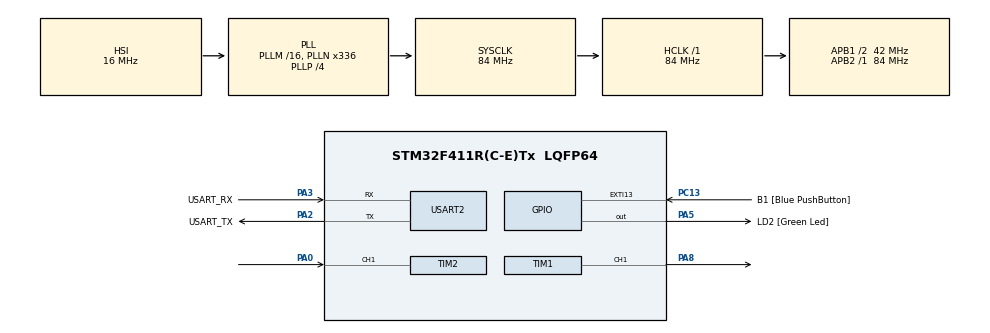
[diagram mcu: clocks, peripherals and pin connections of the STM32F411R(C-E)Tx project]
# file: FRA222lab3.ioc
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Dma.Request0=TIM2_CH1
Dma.TIM2_CH1.0.Direction=DMA_PERIPH_TO_MEMORY
Dma.TIM2_CH1.0.FIFOMode=DMA_FIFOMODE_DISABLE
Dma.TIM2_CH1.0.Instance=DMA1_Stream5
Dma.TIM2_CH1.0.MemDataAlignment=DMA_MDATAALIGN_WORD
Dma.TIM2_CH1.0.MemInc=DMA_MINC_ENABLE
Dma.TIM2_CH1.0.Mode=DMA_CIRCULAR
Dma.TIM2_CH1.0.PeriphDataAlignment=DMA_PDATAALIGN_WORD
Dma.TIM2_CH1.0.PeriphInc=DMA_PINC_DISABLE
Dma.TIM2_CH1.0.Priority=DMA_PRIORITY_LOW
Mcu.Family=STM32F4
Mcu.Name=STM32F411R(C-E)Tx
Mcu.Package=LQFP64
NVIC.DMA1_Stream5_IRQn=true\:0\:0\:false\:false\:true\:false\:true\:true
NVIC.PriorityGroup=NVIC_PRIORITYGROUP_0
PA0-WKUP.Signal=S_TIM2_CH1_ETR
PA13.GPIO_Label=TMS
PA13.Mode=Serial_Wire
PA13.Signal=SYS_JTMS-SWDIO
PA14.GPIO_Label=TCK
PA14.Mode=Serial_Wire
PA14.Signal=SYS_JTCK-SWCLK
PA2.GPIO_Label=USART_TX
PA2.Mode=Asynchronous
PA2.Signal=USART2_TX
PA3.GPIO_Label=USART_RX
PA3.Mode=Asynchronous
PA3.Signal=USART2_RX
PA5.GPIO_Label=LD2 [Green Led]
PA5.Signal=GPIO_Output
PA8.Signal=S_TIM1_CH1
PB3.GPIO_Label=SWO
PB3.Signal=SYS_JTDO-SWO
PC13-ANTI_TAMP.GPIO_Label=B1 [Blue PushButton]
PC13-ANTI_TAMP.GPIO_ModeDefaultEXTI=GPIO_MODE_IT_FALLING
PC13-ANTI_TAMP.Signal=GPXTI13
PC14-OSC32_IN.Mode=LSE-External-Oscillator
PC14-OSC32_IN.Signal=RCC_OSC32_IN
PC15-OSC32_OUT.Mode=LSE-External-Oscillator
PC15-OSC32_OUT.Signal=RCC_OSC32_OUT
PH0\ -\ OSC_IN.Mode=HSE-External-Clock-Source
PH0\ -\ OSC_IN.Signal=RCC_OSC_IN
PH1\ -\ OSC_OUT.Mode=HSE-External-Clock-Source
PH1\ -\ OSC_OUT.Signal=RCC_OSC_OUT
ProjectManager.HeapSize=0x200
ProjectManager.StackSize=0x400
ProjectManager.TargetToolchain=STM32CubeIDE
RCC.48MHZClocksFreq_Value=84000000
RCC.AHBFreq_Value=84000000
RCC.APB1CLKDivider=RCC_HCLK_DIV2
RCC.APB1Freq_Value=42000000
RCC.APB1TimFreq_Value=84000000
RCC.APB2Freq_Value=84000000
RCC.APB2TimFreq_Value=84000000
RCC.CortexFreq_Value=84000000
RCC.FLatency-AdvancedSettings=FLASH_LATENCY_2
RCC.HCLKFreq_Value=84000000
RCC.HSE_VALUE=8000000
RCC.HSI_VALUE=16000000
RCC.PLLN=336
RCC.PLLP=RCC_PLLP_DIV4
RCC.SYSCLKFreq_VALUE=84000000
RCC.SYSCLKSource=RCC_SYSCLKSOURCE_PLLCLK
RCC.VCOOutputFreq_Value=336000000
SH.S_TIM1_CH1.0=TIM1_CH1,PWM Generation1 CH1
SH.S_TIM2_CH1_ETR.0=TIM2_CH1,Input_Capture1_from_TI1
TIM1.Channel-PWM\ Generation1\ CH1=TIM_CHANNEL_1
TIM1.Period=999
TIM1.Prescaler=83
TIM1.Pulse-PWM\ Generation1\ CH1=500
TIM2.Channel-Input_Capture1_from_TI1=TIM_CHANNEL_1
TIM2.Prescaler=83
USART2.VirtualMode=VM_ASYNC
VP_TIM1_VS_ClockSourceINT.Mode=Internal
VP_TIM2_VS_ClockSourceINT.Mode=Internal
board=NUCLEO-F411RE

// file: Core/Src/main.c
/* USER CODE BEGIN Header */
/**
  ******************************************************************************
  * @file           : main.c
  * @brief          : Main program body
  ******************************************************************************
  * @attention
  *
  * Copyright (c) 2023 STMicroelectronics.
  * All rights reserved.
  *
  * This software is licensed under terms that can be found in the LICENSE file
  * in the root directory of this software component.
  * If no LICENSE file comes with this software, it is provided AS-IS.
  *
  ******************************************************************************
  */
/* USER CODE END Header */
#include "main.h"

/* USER CODE BEGIN Includes */
#define IC_BUFFER_SIZE 20
/* USER CODE END Includes */

TIM_HandleTypeDef htim1;
TIM_HandleTypeDef htim2;
DMA_HandleTypeDef hdma_tim2_ch1;

UART_HandleTypeDef huart2;

/* USER CODE BEGIN PV */
uint32_t InputCaptureBuffer[IC_BUFFER_SIZE];
float averageRisingedgePeriod;
float duty = 500;
float MotorSetduty = 50;

float MotorSetRPM = 0;
float MotorReadRPM = 0;
uint32_t MotorControlEnable = 0;

/* USER CODE END PV */

void SystemClock_Config(void);
static void MX_GPIO_Init(void);
static void MX_DMA_Init(void);
static void MX_USART2_UART_Init(void);
static void MX_TIM1_Init(void);
static void MX_TIM2_Init(void);
/* USER CODE BEGIN PFP */
float IC_Calc_Period();

/* USER CODE END PFP */

int main(void)
{

  /* MCU Configuration--------------------------------------------------------*/

  /* Reset of all peripherals, Initializes the Flash interface and the Systick. */
  HAL_Init();

  /* Configure the system clock */
  SystemClock_Config();

  /* Initialize all configured peripherals */
  MX_GPIO_Init();
  MX_DMA_Init();
  MX_USART2_UART_Init();
  MX_TIM1_Init();
  MX_TIM2_Init();
  /* USER CODE BEGIN 2 */
  HAL_TIM_Base_Start(&htim2);
  HAL_TIM_IC_Start_DMA(&htim2, TIM_CHANNEL_1, InputCaptureBuffer, IC_BUFFER_SIZE);

  HAL_TIM_Base_Start(&htim1);
  HAL_TIM_PWM_Start(&htim1, TIM_CHANNEL_1);
  /* USER CODE END 2 */

  /* Infinite loop */
  while (1)
  {

    /* USER CODE BEGIN 3 */
	  static uint32_t timestamp = 0;
	  	  	  if(HAL_GetTick()>timestamp)
	  	  	  {
	  	  		  timestamp = HAL_GetTick()+500;
	  	  		  averageRisingedgePeriod = IC_Calc_Period();
	  	  		  MotorReadRPM = 60/(64*12*averageRisingedgePeriod*0.000001);

	  	  		  __HAL_TIM_SET_COMPARE(&htim1,TIM_CHANNEL_1,duty);

	  	  		 if(MotorControlEnable == 1){
	  	  			 //duty = MotorSetRPM*(1000/25);
	  	  			 if ((MotorReadRPM < MotorSetRPM) & (duty<=1000)){
	  	  				duty += 20;
	  	  			 }
	  	  			 else if((MotorReadRPM > MotorSetRPM) & (duty>=0)){
	  	  				duty -= 20;
	  	  			 }

	  	  		 }
				 else{
					 duty = MotorSetduty*10 ;
				 }

	  	  	  }
  }
  /* USER CODE END 3 */
}

void SystemClock_Config(void)
{
  RCC_OscInitTypeDef RCC_OscInitStruct = {0};
  RCC_ClkInitTypeDef RCC_ClkInitStruct = {0};

  /** Configure the main internal regulator output voltage
  */
  __HAL_RCC_PWR_CLK_ENABLE();
  __HAL_PWR_VOLTAGESCALING_CONFIG(PWR_REGULATOR_VOLTAGE_SCALE1);

  /** Initializes the RCC Oscillators according to the specified parameters
  * in the RCC_OscInitTypeDef structure.
  */
  RCC_OscInitStruct.OscillatorType = RCC_OSCILLATORTYPE_HSI;
  RCC_OscInitStruct.HSIState = RCC_HSI_ON;
  RCC_OscInitStruct.HSICalibrationValue = RCC_HSICALIBRATION_DEFAULT;
  RCC_OscInitStruct.PLL.PLLState = RCC_PLL_ON;
  RCC_OscInitStruct.PLL.PLLSource = RCC_PLLSOURCE_HSI;
  RCC_OscInitStruct.PLL.PLLM = 16;
  RCC_OscInitStruct.PLL.PLLN = 336;
  RCC_OscInitStruct.PLL.PLLP = RCC_PLLP_DIV4;
  RCC_OscInitStruct.PLL.PLLQ = 4;
  if (HAL_RCC_OscConfig(&RCC_OscInitStruct) != HAL_OK)
  {
    Error_Handler();
  }

  /** Initializes the CPU, AHB and APB buses clocks
  */
  RCC_ClkInitStruct.ClockType = RCC_CLOCKTYPE_HCLK|RCC_CLOCKTYPE_SYSCLK
                              |RCC_CLOCKTYPE_PCLK1|RCC_CLOCKTYPE_PCLK2;
  RCC_ClkInitStruct.SYSCLKSource = RCC_SYSCLKSOURCE_PLLCLK;
  RCC_ClkInitStruct.AHBCLKDivider = RCC_SYSCLK_DIV1;
  RCC_ClkInitStruct.APB1CLKDivider = RCC_HCLK_DIV2;
  RCC_ClkInitStruct.APB2CLKDivider = RCC_HCLK_DIV1;

  if (HAL_RCC_ClockConfig(&RCC_ClkInitStruct, FLASH_LATENCY_2) != HAL_OK)
  {
    Error_Handler();
  }
}

static void MX_TIM1_Init(void)
{

  TIM_ClockConfigTypeDef sClockSourceConfig = {0};
  TIM_MasterConfigTypeDef sMasterConfig = {0};
  TIM_OC_InitTypeDef sConfigOC = {0};
  TIM_BreakDeadTimeConfigTypeDef sBreakDeadTimeConfig = {0};

  htim1.Instance = TIM1;
  htim1.Init.Prescaler = 83;
  htim1.Init.CounterMode = TIM_COUNTERMODE_UP;
  htim1.Init.Period = 999;
  htim1.Init.ClockDivision = TIM_CLOCKDIVISION_DIV1;
  htim1.Init.RepetitionCounter = 0;
  htim1.Init.AutoReloadPreload = TIM_AUTORELOAD_PRELOAD_DISABLE;
  if (HAL_TIM_Base_Init(&htim1) != HAL_OK)
  {
    Error_Handler();
  }
  sClockSourceConfig.ClockSource = TIM_CLOCKSOURCE_INTERNAL;
  if (HAL_TIM_ConfigClockSource(&htim1, &sClockSourceConfig) != HAL_OK)
  {
    Error_Handler();
  }
  if (HAL_TIM_PWM_Init(&htim1) != HAL_OK)
  {
    Error_Handler();
  }
  sMasterConfig.MasterOutputTrigger = TIM_TRGO_RESET;
  sMasterConfig.MasterSlaveMode = TIM_MASTERSLAVEMODE_DISABLE;
  if (HAL_TIMEx_MasterConfigSynchronization(&htim1, &sMasterConfig) != HAL_OK)
  {
    Error_Handler();
  }
  sConfigOC.OCMode = TIM_OCMODE_PWM1;
  sConfigOC.Pulse = 500;
  sConfigOC.OCPolarity = TIM_OCPOLARITY_HIGH;
  sConfigOC.OCNPolarity = TIM_OCNPOLARITY_HIGH;
  sConfigOC.OCFastMode = TIM_OCFAST_DISABLE;
  sConfigOC.OCIdleState = TIM_OCIDLESTATE_RESET;
  sConfigOC.OCNIdleState = TIM_OCNIDLESTATE_RESET;
  if (HAL_TIM_PWM_ConfigChannel(&htim1, &sConfigOC, TIM_CHANNEL_1) != HAL_OK)
  {
    Error_Handler();
  }
  sBreakDeadTimeConfig.OffStateRunMode = TIM_OSSR_DISABLE;
  sBreakDeadTimeConfig.OffStateIDLEMode = TIM_OSSI_DISABLE;
  sBreakDeadTimeConfig.LockLevel = TIM_LOCKLEVEL_OFF;
  sBreakDeadTimeConfig.DeadTime = 0;
  sBreakDeadTimeConfig.BreakState = TIM_BREAK_DISABLE;
  sBreakDeadTimeConfig.BreakPolarity = TIM_BREAKPOLARITY_HIGH;
  sBreakDeadTimeConfig.AutomaticOutput = TIM_AUTOMATICOUTPUT_DISABLE;
  if (HAL_TIMEx_ConfigBreakDeadTime(&htim1, &sBreakDeadTimeConfig) != HAL_OK)
  {
    Error_Handler();
  }
  HAL_TIM_MspPostInit(&htim1);

}

static void MX_TIM2_Init(void)
{

  TIM_ClockConfigTypeDef sClockSourceConfig = {0};
  TIM_MasterConfigTypeDef sMasterConfig = {0};
  TIM_IC_InitTypeDef sConfigIC = {0};

  htim2.Instance = TIM2;
  htim2.Init.Prescaler = 83;
  htim2.Init.CounterMode = TIM_COUNTERMODE_UP;
  htim2.Init.Period = 4294967295;
  htim2.Init.ClockDivision = TIM_CLOCKDIVISION_DIV1;
  htim2.Init.AutoReloadPreload = TIM_AUTORELOAD_PRELOAD_DISABLE;
  if (HAL_TIM_Base_Init(&htim2) != HAL_OK)
  {
    Error_Handler();
  }
  sClockSourceConfig.ClockSource = TIM_CLOCKSOURCE_INTERNAL;
  if (HAL_TIM_ConfigClockSource(&htim2, &sClockSourceConfig) != HAL_OK)
  {
    Error_Handler();
  }
  if (HAL_TIM_IC_Init(&htim2) != HAL_OK)
  {
    Error_Handler();
  }
  sMasterConfig.MasterOutputTrigger = TIM_TRGO_RESET;
  sMasterConfig.MasterSlaveMode = TIM_MASTERSLAVEMODE_DISABLE;
  if (HAL_TIMEx_MasterConfigSynchronization(&htim2, &sMasterConfig) != HAL_OK)
  {
    Error_Handler();
  }
  sConfigIC.ICPolarity = TIM_INPUTCHANNELPOLARITY_RISING;
  sConfigIC.ICSelection = TIM_ICSELECTION_DIRECTTI;
  sConfigIC.ICPrescaler = TIM_ICPSC_DIV1;
  sConfigIC.ICFilter = 0;
  if (HAL_TIM_IC_ConfigChannel(&htim2, &sConfigIC, TIM_CHANNEL_1) != HAL_OK)
  {
    Error_Handler();
  }

}

static void MX_USART2_UART_Init(void)
{

  huart2.Instance = USART2;
  huart2.Init.BaudRate = 115200;
  huart2.Init.WordLength = UART_WORDLENGTH_8B;
  huart2.Init.StopBits = UART_STOPBITS_1;
  huart2.Init.Parity = UART_PARITY_NONE;
  huart2.Init.Mode = UART_MODE_TX_RX;
  huart2.Init.HwFlowCtl = UART_HWCONTROL_NONE;
  huart2.Init.OverSampling = UART_OVERSAMPLING_16;
  if (HAL_UART_Init(&huart2) != HAL_OK)
  {
    Error_Handler();
  }

}

static void MX_DMA_Init(void)
{

  /* DMA controller clock enable */
  __HAL_RCC_DMA1_CLK_ENABLE();

  /* DMA interrupt init */
  /* DMA1_Stream5_IRQn interrupt configuration */
  HAL_NVIC_SetPriority(DMA1_Stream5_IRQn, 0, 0);
  HAL_NVIC_EnableIRQ(DMA1_Stream5_IRQn);

}

static void MX_GPIO_Init(void)
{
  GPIO_InitTypeDef GPIO_InitStruct = {0};

  /* GPIO Ports Clock Enable */
  __HAL_RCC_GPIOC_CLK_ENABLE();
  __HAL_RCC_GPIOH_CLK_ENABLE();
  __HAL_RCC_GPIOA_CLK_ENABLE();
  __HAL_RCC_GPIOB_CLK_ENABLE();

  /*Configure GPIO pin Output Level */
  HAL_GPIO_WritePin(LD2_GPIO_Port, LD2_Pin, GPIO_PIN_RESET);

  /*Configure GPIO pin : B1_Pin */
  GPIO_InitStruct.Pin = B1_Pin;
  GPIO_InitStruct.Mode = GPIO_MODE_IT_FALLING;
  GPIO_InitStruct.Pull = GPIO_NOPULL;
  HAL_GPIO_Init(B1_GPIO_Port, &GPIO_InitStruct);

  /*Configure GPIO pin : LD2_Pin */
  GPIO_InitStruct.Pin = LD2_Pin;
  GPIO_InitStruct.Mode = GPIO_MODE_OUTPUT_PP;
  GPIO_InitStruct.Pull = GPIO_NOPULL;
  GPIO_InitStruct.Speed = GPIO_SPEED_FREQ_LOW;
  HAL_GPIO_Init(LD2_GPIO_Port, &GPIO_InitStruct);

}

/* USER CODE BEGIN 4 */
float IC_Calc_Period()
{
	uint32_t currentDMAPointer = IC_BUFFER_SIZE - __HAL_DMA_GET_COUNTER((htim2.hdma[1]));

	uint32_t lastVaildDMAPointer = (currentDMAPointer-1 + IC_BUFFER_SIZE) % IC_BUFFER_SIZE;

	uint32_t i = (lastVaildDMAPointer + IC_BUFFER_SIZE - 5) % IC_BUFFER_SIZE;

	int32_t sumdiff = 0;
	while(i != lastVaildDMAPointer)
	{
		uint32_t firstCapture = InputCaptureBuffer[i];

		uint32_t NextCapture = InputCaptureBuffer[(i+1)%IC_BUFFER_SIZE];
		sumdiff += NextCapture - firstCapture;
		i = (i+1) % IC_BUFFER_SIZE;
	}
	return sumdiff /5.0;
}
/* USER CODE END 4 */

void Error_Handler(void)
{
  __disable_irq();
  while (1)
  {
  }
}
